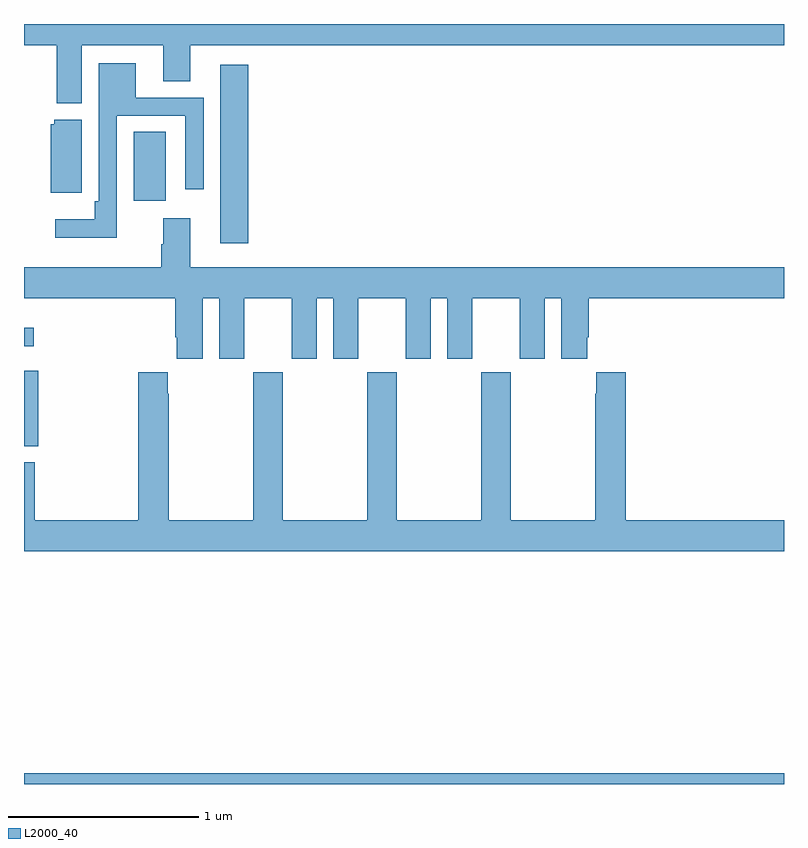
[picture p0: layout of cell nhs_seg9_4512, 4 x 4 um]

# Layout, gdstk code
import gdstk
lib = gdstk.Library(unit=1e-6, precision=1e-09)
def R(c, l, rs):  # rectangles x0, y0, x1, y1
    for r in rs: c.add(gdstk.rectangle(r[:2], r[2:], *l))
def P(c, l, *ps):  # polygons
    for p in ps: c.add(gdstk.Polygon(p, *l))
L2000_40 = (2000, 40)

nhs_seg9_4512 = lib.new_cell('nhs_seg9_4512')
R(nhs_seg9_4512, L2000_40, [(369,1224.5,373,1224.556), (369,1226.278,369.074,1226.674), (369,1226.804,369.052,1226.902), (370.034,1227.345,370.181,1228.285), (369.578,1227.57,369.745,1227.932)])
P(nhs_seg9_4512, L2000_40, [(369.304,1228.388),(369.734,1228.388),(369.734,1228.198),(369.874,1228.198),(369.874,1228.388),(373,1228.388),(373,1228.5),(369,1228.5),(369,1228.388),(369.173,1228.388),(369.173,1228.082),(369.304,1228.082)],
  [(369.489,1228.017),(369.849,1228.017),(369.849,1227.63),(369.945,1227.63),(369.945,1228.113),(369.589,1228.113),(369.589,1228.294),(369.393,1228.294),(369.393,1227.568),(369.373,1227.568),(369.373,1227.472),(369.165,1227.472),(369.165,1227.374),(369.489,1227.374)],
  [(369.304,1227.997),(369.159,1227.997),(369.159,1227.972),(369.14,1227.972),(369.14,1227.611),(369.304,1227.611)],
  [(369.94,1227.056),(370.028,1227.056),(370.028,1226.739),(370.159,1226.739),(370.159,1227.056),(370.409,1227.056),(370.409,1226.739),(370.54,1226.739),(370.54,1227.056),(370.628,1227.056),(370.628,1226.739),(370.759,1226.739),(370.759,1227.056),(371.009,1227.056),(371.009,1226.739),(371.14,1226.739),(371.14,1227.056),(371.228,1227.056),(371.228,1226.739),(371.359,1226.739),(371.359,1227.056),(371.609,1227.056),(371.609,1226.739),(371.74,1226.739),(371.74,1227.056),(371.828,1227.056),(371.828,1226.739),(371.965,1226.739),(371.965,1226.851),(371.972,1226.851),(371.972,1227.056),(373,1227.056),(373,1227.22),(369.874,1227.22),(369.874,1227.478),(369.734,1227.478),(369.734,1227.341),(369.722,1227.341),(369.722,1227.22),(369,1227.22),(369,1227.056),(369.797,1227.056),(369.797,1226.851),(369.803,1226.851),(369.803,1226.739),(369.94,1226.739)],
  [(373,1225.888),(372.167,1225.888),(372.167,1226.668),(372.011,1226.668),(372.011,1226.555),(372.007,1226.555),(372.007,1225.888),(371.562,1225.888),(371.562,1226.668),(371.407,1226.668),(371.407,1225.888),(370.962,1225.888),(370.962,1226.668),(370.807,1226.668),(370.807,1225.888),(370.362,1225.888),(370.362,1226.668),(370.207,1226.668),(370.207,1225.888),(369.762,1225.888),(369.762,1226.555),(369.757,1226.555),(369.757,1226.668),(369.602,1226.668),(369.602,1225.888),(369.056,1225.888),(369.056,1226.193),(369,1226.193),(369,1225.724),(373,1225.724)])

lib.write_gds('nhs_seg9_4512.gds')
